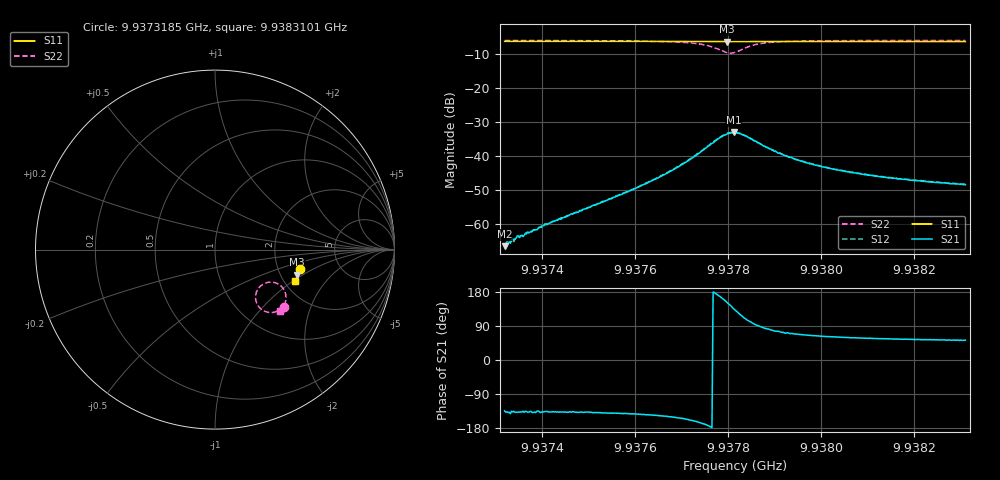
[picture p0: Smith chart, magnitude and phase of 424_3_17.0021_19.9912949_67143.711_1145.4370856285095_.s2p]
#  HZ  S  RI  R  50.00
! Rohde & Schwarz Vector Network Analyzer
! Rohde-Schwarz,ZNB20-2Port,1311601062101988,3.16
! Created: UTC 3/20/2024, 11:11:05 PM
! freq[Hz]  re:S11  im:S11  re:S21  im:S21  re:S12  im:S12  re:S22  im:S22
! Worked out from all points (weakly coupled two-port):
!   401 points, 9.9373185 GHz to 9.9383101 GHz, reference 50 ohm
!   highest |S21| = -33.07 dB at 9.9378118 GHz (marker M1); lowest = -66.5 dB at 9.9373185 GHz (marker M2)
!   lowest |S11| = -6.4 dB at 9.937797 GHz (marker M3), VSWR 2.84, Z = 123 - j44.7 ohm
!   |S11| at or under -10 dB: nowhere
!   |S22| runs from -9.8 to -6.1 dB; largest |S21 - S12| = 0.00091
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9.93731853e9  0.4709 -0.1097  -0.000331 -0.000341  -0.000355 -0.000343  0.3829 -0.3179
9.93733093e9  0.4706 -0.1105  -0.000411 -0.000325  -0.00043 -0.000381  0.3821 -0.3188
9.93734828e9  0.4704 -0.1117  -0.000495 -0.000457  -0.000484 -0.000434  0.3807 -0.3201
9.93735572e9  0.4701 -0.1121  -0.000497 -0.000461  -0.000517 -0.000454  0.3801 -0.3206
9.93736811e9  0.4697 -0.1129  -0.000568 -0.000511  -0.000557 -0.000516  0.3791 -0.3215
9.9374053e9  0.4691 -0.1155  -0.000702 -0.000677  -0.000761 -0.000664  0.3761 -0.3244
9.93748462e9  0.4674 -0.121  -0.00116 -0.00107  -0.00123 -0.00106  0.3677 -0.3308
9.93758874e9  0.4651 -0.1278  -0.00244 -0.00192  -0.00251 -0.00189  0.3517 -0.3408
9.93765071e9  0.4633 -0.1321  -0.00406 -0.00268  -0.00418 -0.00264  0.335 -0.3475
9.93771021e9  0.4616 -0.136  -0.00757 -0.00332  -0.00775 -0.00323  0.3034 -0.3505
9.93774739e9  0.4602 -0.1385  -0.0122 -0.00244  -0.0125 -0.0022  0.2664 -0.3383
9.93777218e9  0.4589 -0.1398  -0.0166 0.00121  -0.017 0.00145  0.2352 -0.3045
9.93779697e9  0.4578 -0.1403  -0.0185 0.0098  -0.0188 0.0105  0.2317 -0.2345
9.93781185e9  0.4578 -0.1405  -0.0157 0.0157  -0.0154 0.0162  0.2648 -0.1945
9.93781433e9  0.4578 -0.1406  -0.0147 0.0163  -0.0145 0.017  0.2722 -0.1903
9.93783416e9  0.4583 -0.1414  -0.00715 0.0188  -0.00691 0.0191  0.333 -0.1842
9.93786639e9  0.4584 -0.1437  0.000133 0.0154  0.000545 0.0156  0.3843 -0.2236
9.9379234e9  0.4574 -0.1481  0.00336 0.00951  0.0034 0.00954  0.3955 -0.2749
9.93798042e9  0.4562 -0.1519  0.00331 0.00684  0.00346 0.00687  0.3898 -0.2991
9.93805975e9  0.454 -0.1572  0.00299 0.00501  0.00314 0.005  0.3809 -0.3166
9.93814651e9  0.4517 -0.1629  0.00268 0.00394  0.0028 0.00398  0.3729 -0.328
9.93831012e9  0.4472 -0.1734  0.00231 0.003  0.0024 0.00304  0.3603 -0.3425
